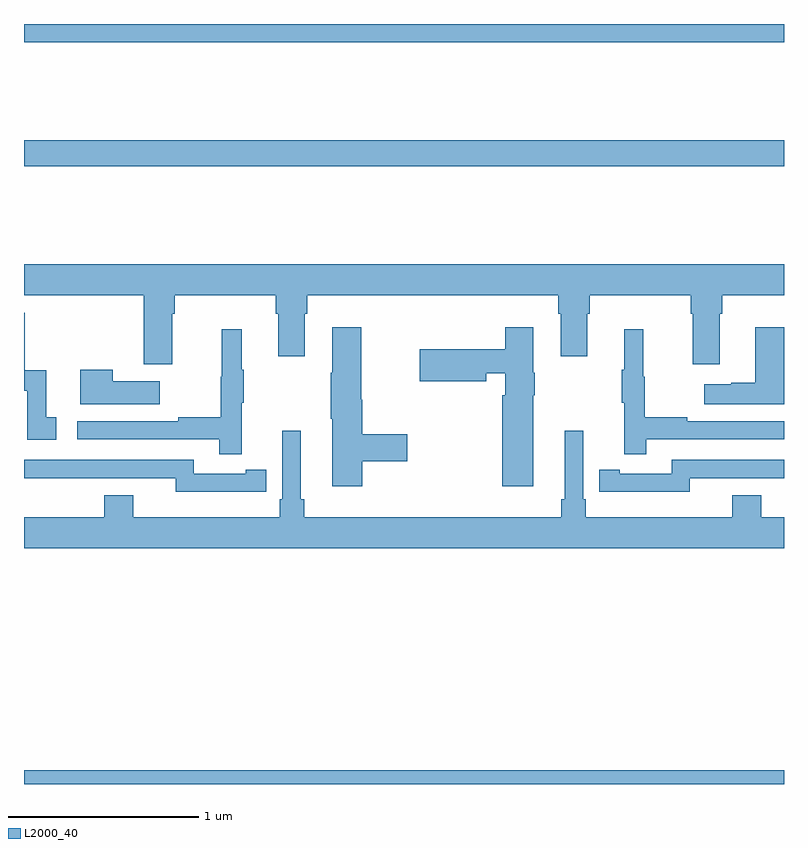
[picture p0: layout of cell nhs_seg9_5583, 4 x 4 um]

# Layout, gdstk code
import gdstk
lib = gdstk.Library(unit=1e-6, precision=1e-09)
def R(c, l, rs):  # rectangles x0, y0, x1, y1
    for r in rs: c.add(gdstk.rectangle(r[:2], r[2:], *l))
def P(c, l, *ps):  # polygons
    for p in ps: c.add(gdstk.Polygon(p, *l))
L2000_40 = (2000, 40)

nhs_seg9_5583 = lib.new_cell('nhs_seg9_5583')
R(nhs_seg9_5583, L2000_40, [(435,1208.5,439,1208.572), (435,1211.752,439,1211.888), (435,1212.404,439,1212.5)])
P(nhs_seg9_5583, L2000_40, [(435.781,1210.976),(435.794,1210.976),(435.794,1211.072),(436.325,1211.072),(436.325,1210.976),(436.337,1210.976),(436.337,1210.752),(436.477,1210.752),(436.477,1210.976),(436.49,1210.976),(436.49,1211.072),(437.813,1211.072),(437.813,1210.976),(437.825,1210.976),(437.825,1210.752),(437.965,1210.752),(437.965,1210.976),(437.978,1210.976),(437.978,1211.072),(438.509,1211.072),(438.509,1210.976),(438.521,1210.976),(438.521,1210.71),(438.661,1210.71),(438.661,1210.976),(438.674,1210.976),(438.674,1211.072),(439,1211.072),(439,1211.236),(435,1211.236),(435,1211.072),(435.629,1211.072),(435.629,1210.71),(435.781,1210.71)],
  [(435.169,1210.431),(435.116,1210.431),(435.116,1210.678),(435.005,1210.678),(435.005,1210.98),(435,1210.98),(435,1210.569),(435.018,1210.569),(435.018,1210.311),(435.169,1210.311)],
  [(437.68,1210.545),(437.688,1210.545),(437.688,1210.665),(437.68,1210.665),(437.68,1210.903),(437.534,1210.903),(437.534,1210.789),(437.082,1210.789),(437.082,1210.619),(437.434,1210.619),(437.434,1210.662),(437.534,1210.662),(437.534,1210.545),(437.516,1210.545),(437.516,1210.068),(437.68,1210.068)],
  [(439,1210.903),(438.848,1210.903),(438.848,1210.613),(438.722,1210.613),(438.722,1210.603),(438.579,1210.603),(438.579,1210.499),(439,1210.499)],
  [(436.781,1210.198),(437.017,1210.198),(437.017,1210.34),(436.781,1210.34),(436.781,1210.523),(436.776,1210.523),(436.776,1210.903),(436.622,1210.903),(436.622,1210.664),(436.615,1210.664),(436.615,1210.423),(436.622,1210.423),(436.622,1210.068),(436.781,1210.068)],
  [(438.275,1210.314),(439,1210.314),(439,1210.41),(438.491,1210.41),(438.491,1210.43),(438.268,1210.43),(438.268,1210.644),(438.26,1210.644),(438.26,1210.894),(438.158,1210.894),(438.158,1210.681),(438.147,1210.681),(438.147,1210.507),(438.158,1210.507),(438.158,1210.236),(438.275,1210.236)],
  [(436.145,1210.507),(436.156,1210.507),(436.156,1210.681),(436.145,1210.681),(436.145,1210.894),(436.042,1210.894),(436.042,1210.644),(436.035,1210.644),(436.035,1210.43),(435.811,1210.43),(435.811,1210.41),(435.279,1210.41),(435.279,1210.314),(436.027,1210.314),(436.027,1210.236),(436.145,1210.236)],
  [(435.715,1210.621),(435.467,1210.621),(435.467,1210.681),(435.296,1210.681),(435.296,1210.499),(435.715,1210.499)],
  [(439,1209.904),(438.881,1209.904),(438.881,1210.021),(438.728,1210.021),(438.728,1209.904),(437.957,1209.904),(437.957,1210),(437.943,1210),(437.943,1210.36),(437.846,1210.36),(437.846,1210),(437.827,1210),(437.827,1209.904),(436.475,1209.904),(436.475,1210),(436.456,1210),(436.456,1210.36),(436.359,1210.36),(436.359,1210),(436.346,1210),(436.346,1209.904),(435.574,1209.904),(435.574,1210.021),(435.422,1210.021),(435.422,1209.904),(435,1209.904),(435,1209.74),(439,1209.74)],
  [(438.504,1210.11),(438.964,1210.11),(438.964,1210.109),(439,1210.109),(439,1210.206),(438.408,1210.206),(438.408,1210.134),(438.136,1210.134),(438.136,1210.154),(438.028,1210.154),(438.028,1210.038),(438.136,1210.038),(438.136,1210.037),(438.504,1210.037)],
  [(436.166,1210.038),(436.274,1210.038),(436.274,1210.154),(436.166,1210.154),(436.166,1210.134),(435.894,1210.134),(435.894,1210.206),(435,1210.206),(435,1210.109),(435.338,1210.109),(435.338,1210.11),(435.798,1210.11),(435.798,1210.037),(436.166,1210.037)])

lib.write_gds('nhs_seg9_5583.gds')
